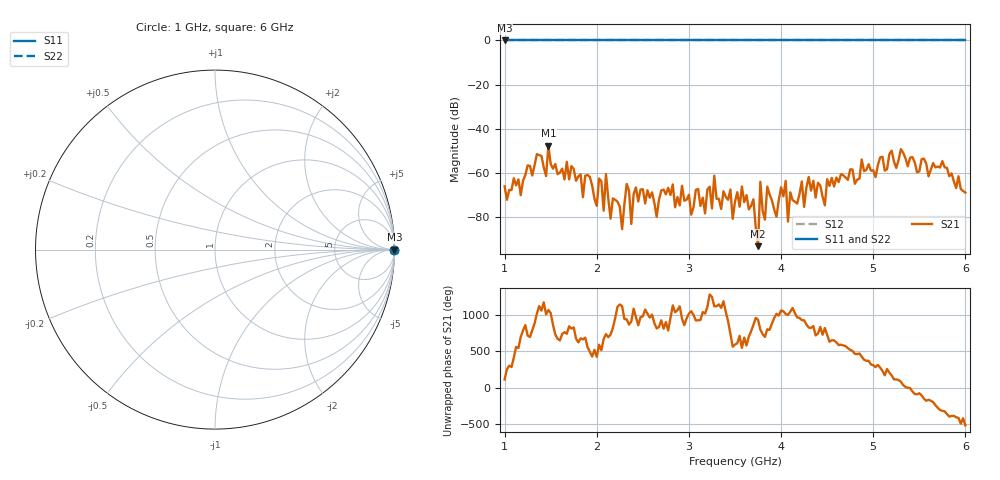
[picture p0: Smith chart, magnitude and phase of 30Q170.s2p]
!Keysight Technologies N9926A: A.08.19
!Date: Sunday, 01 March 2026 14:35:25
!Timezone: (GMT-06:00) Central Time (US & Canada)
!Model: N9926A
!Serial: MY53102721
!GPS Latitude:
!GPS Longitude:
!GPS TimeStamp: 0001-01-01 00:00:00Z
!GPS Seconds Since Last Read: 0
!CHECKSUM:0616281703
!Correction: S11()S21(ON U)S12()S22()
!S2P File: Measurements:S11,S21,S12,S22:
# Hz S DB R 50
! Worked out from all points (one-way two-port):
!   201 points, 1 GHz to 6 GHz, reference 50 ohm
!   highest |S21| = -47.54 dB at 1.475 GHz (marker M1); lowest = -93.0 dB at 3.75 GHz (marker M2)
!   lowest |S11| = 0.0 dB at 1 GHz (marker M3)
!   |S11| at or under -10 dB: nowhere
!   |S22| runs from 0.0 to 0.0 dB; largest |S21 - S12| = 1
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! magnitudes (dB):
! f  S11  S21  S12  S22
! 1 GHz  0.0  -65.9  0.0  0.0
! 1.35 GHz  0.0  -51.4  0.0  0.0
! 1.45 GHz  0.0  -61.3  0.0  0.0
! 1.475 GHz  0.0  -47.5  0.0  0.0
! 1.85 GHz  0.0  -70.9  0.0  0.0
! 2.675 GHz  0.0  -72.1  0.0  0.0
! 3.175 GHz  0.0  -78.2  0.0  0.0
! 3.275 GHz  0.0  -61.1  0.0  0.0
! 3.35 GHz  0.0  -76.2  0.0  0.0
! 3.5 GHz  0.0  -72.9  0.0  0.0
! 3.75 GHz  0.0  -93.0  0.0  0.0
! 3.775 GHz  0.0  -63.9  0.0  0.0
! 3.825 GHz  0.0  -81.0  0.0  0.0
! 3.85 GHz  0.0  -66.1  0.0  0.0
! 3.95 GHz  0.0  -79.6  0.0  0.0
! 4.05 GHz  0.0  -63.5  0.0  0.0
! 4.075 GHz  0.0  -81.8  0.0  0.0
! 4.35 GHz  0.0  -63.4  0.0  0.0
! 4.475 GHz  0.0  -74.5  0.0  0.0
! 4.5 GHz  0.0  -62.7  0.0  0.0
! 5.175 GHz  0.0  -51.4  0.0  0.0
! 6 GHz  0.0  -68.7  0.0  0.0
